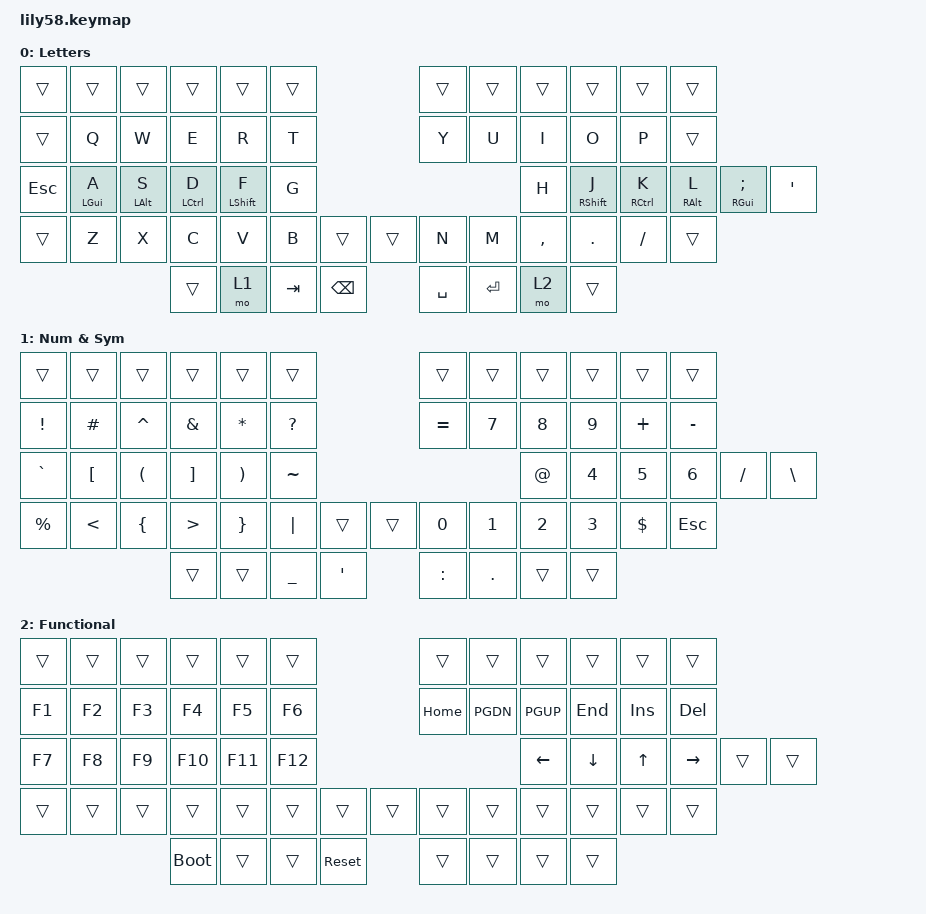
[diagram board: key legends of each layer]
/*
 * Copyright (c) 2020 The ZMK Contributors
 *
 * SPDX-License-Identifier: MIT
 *
 * Lily58 keymap constrained to a 6-column Corne footprint.
 * Rows 1–3 + inner 3 thumbs per half are active; row 0 + outer thumbs are &trans.
 * Mac-oriented: GUI = CMD, ALT = Opt.
 */

#include <dt-bindings/zmk/behaviors.h>
#include <behaviors.dtsi>
#include <dt-bindings/zmk/keys.h>
#include <dt-bindings/zmk/outputs.h>
#include <dt-bindings/zmk/bt.h>

/ {
    behaviors {
        // Home-row mods — any key press on either side activates the hold.
        hml: homerow_mod_left {
            compatible = "zmk,behavior-hold-tap";
            #binding-cells = <2>;
            flavor = "balanced";
            tapping-term-ms = <200>;
            require-prior-idle-ms = <150>;
            bindings = <&kp>, <&kp>;
            display-name = "HRM Left";
        };

        hmr: homerow_mod_right {
            compatible = "zmk,behavior-hold-tap";
            #binding-cells = <2>;
            flavor = "balanced";
            tapping-term-ms = <200>;
            require-prior-idle-ms = <150>;
            bindings = <&kp>, <&kp>;
            display-name = "HRM Right";
        };
    };

    keymap {
        compatible = "zmk,keymap";

        // ==================================================================
        //  Layer 0 — Letters  (QWERTY + home-row mods)
        // ==================================================================
        //
        //  Row 0 — all &trans (outside Corne footprint)
        //
        //  ┌───────┬───────┬───────┬───────┬───────┬───────┐ ┌───────┬───────┬───────┬───────┬───────┬───────┐
        //  │ TRNS  │ TRNS  │ TRNS  │ TRNS  │ TRNS  │ TRNS  │ │ TRNS  │ TRNS  │ TRNS  │ TRNS  │ TRNS  │ TRNS  │
        //  ├───────┼───────┼───────┼───────┼───────┼───────┤ ├───────┼───────┼───────┼───────┼───────┼───────┤
        //  │ TRNS  │   Q   │   W   │   E   │   R   │   T   │ │   Y   │   U   │   I   │   O   │   P   │ TRNS  │
        //  ├───────┼───────┼───────┼───────┼───────┼───────┤ ├───────┼───────┼───────┼───────┼───────┼───────┤
        //  │  ESC  │ A/CMD │ S/Opt │D/Ctrl │F/Shft │   G   │ │   H   │J/Shft │K/Ctrl │ L/Opt │;/CMD  │   '   │
        //  ├───────┼───────┼───────┼───────┼───────┼───────┤ ├───────┼───────┼───────┼───────┼───────┼───────┤
        //  │ TRNS  │   Z   │   X   │   C   │   V   │   B   │ │   N   │   M   │   ,   │   .   │   /   │ TRNS  │
        //  └───────┴───────┴───────┴───────┴───────┴───────┘ └───────┴───────┴───────┴───────┴───────┴───────┘
        //            ┌───────┬───────┬───────┬───────┐         ┌───────┬───────┬───────┬───────┐
        //            │ TRNS  │  LWR  │  TAB  │ BSPC  │         │  SPC  │  ENT  │  RSE  │ TRNS  │
        //            └───────┴───────┴───────┴───────┘         └───────┴───────┴───────┴───────┘

        default_layer {
            display-name = "Letters";
            bindings = <
&trans      &trans  &trans  &trans  &trans  &trans                      &trans  &trans  &trans  &trans  &trans  &trans
&trans      &kp Q   &kp W   &kp E   &kp R   &kp T                       &kp Y   &kp U   &kp I   &kp O   &kp P   &trans
&kp ESC     &hml LGUI A &hml LALT S &hml LCTRL D &hml LSHFT F &kp G      &kp H   &hmr RSHFT J &hmr RCTRL K &hmr RALT L &hmr RGUI SEMI &kp SQT
&trans      &kp Z   &kp X   &kp C   &kp V   &kp B   &trans  &trans      &kp N   &kp M   &kp COMMA &kp DOT &kp FSLH &trans
                            &trans  &mo 1   &kp TAB &kp BSPC             &kp SPACE &kp RET &mo 2   &trans
            >;
        };

        // ==================================================================
        //  Layer 1 — Numerals & Symbols
        // ==================================================================
        //
        //  Row 0 — all &trans
        //
        //  ┌───────┬───────┬───────┬───────┬───────┬───────┐ ┌───────┬───────┬───────┬───────┬───────┬───────┐
        //  │ TRNS  │ TRNS  │ TRNS  │ TRNS  │ TRNS  │ TRNS  │ │ TRNS  │ TRNS  │ TRNS  │ TRNS  │ TRNS  │ TRNS  │
        //  ├───────┼───────┼───────┼───────┼───────┼───────┤ ├───────┼───────┼───────┼───────┼───────┼───────┤
        //  │   !   │   #   │   ^   │   &   │   *   │   ?   │ │   =   │   7   │   8   │   9   │   +   │   -   │
        //  ├───────┼───────┼───────┼───────┼───────┼───────┤ ├───────┼───────┼───────┼───────┼───────┼───────┤
        //  │   `   │   [   │   (   │   ]   │   )   │   ~   │ │   @   │   4   │   5   │   6   │   /   │   \   │
        //  ├───────┼───────┼───────┼───────┼───────┼───────┤ ├───────┼───────┼───────┼───────┼───────┼───────┤
        //  │   %   │   <   │   {   │   >   │   }   │   |   │ │   0   │   1   │   2   │   3   │   $   │ ESC  │
        //  └───────┴───────┴───────┴───────┴───────┴───────┘ └───────┴───────┴───────┴───────┴───────┴───────┘
        //            ┌───────┬───────┬───────┬───────┐         ┌───────┬───────┬───────┬───────┐
        //            │ TRNS  │ TRNS  │   _   │   '   │         │   :   │   .   │ TRNS  │ TRNS  │
        //            └───────┴───────┴───────┴───────┘         └───────┴───────┴───────┴───────┘

        num_sym_layer {
            display-name = "Num & Sym";
            bindings = <
&trans      &trans  &trans  &trans  &trans  &trans                      &trans  &trans  &trans  &trans  &trans  &trans
&kp EXCL   &kp HASH &kp CARET &kp AMPS &kp ASTRK &kp QMARK               &kp EQUAL &kp N7 &kp N8 &kp N9 &kp PLUS  &kp MINUS
&kp GRAVE  &kp LBKT &kp LPAR &kp RBKT &kp RPAR  &kp TILDE                &kp AT    &kp N4 &kp N5 &kp N6 &kp FSLH &kp BSLH
&kp PERCENT &kp LT &kp LBRC &kp GT   &kp RBRC  &kp PIPE &trans &trans    &kp N0    &kp N1 &kp N2 &kp N3 &kp DOLLAR &kp ESC
                            &trans  &trans  &kp UNDER &kp SQT              &kp COLON &kp DOT &trans &trans
            >;
        };

        // ==================================================================
        //  Layer 2 — Functional
        // ==================================================================
        //
        //  Row 0 — all &trans
        //
        //  ┌───────┬───────┬───────┬───────┬───────┬───────┐ ┌───────┬───────┬───────┬───────┬───────┬───────┐
        //  │ TRNS  │ TRNS  │ TRNS  │ TRNS  │ TRNS  │ TRNS  │ │ TRNS  │ TRNS  │ TRNS  │ TRNS  │ TRNS  │ TRNS  │
        //  ├───────┼───────┼───────┼───────┼───────┼───────┤ ├───────┼───────┼───────┼───────┼───────┼───────┤
        //  │  F1   │  F2   │  F3   │  F4   │  F5   │  F6   │ │ HOME  │ PGDN  │ PGUP  │  END  │  INS  │  DEL  │
        //  ├───────┼───────┼───────┼───────┼───────┼───────┤ ├───────┼───────┼───────┼───────┼───────┼───────┤
        //  │  F7   │  F8   │  F9   │  F10  │  F11  │  F12  │ │ LEFT  │ DOWN  │  UP   │ RIGHT │ TRNS  │ TRNS  │
        //  ├───────┼───────┼───────┼───────┼───────┼───────┤ ├───────┼───────┼───────┼───────┼───────┼───────┤
        //  │ TRNS  │ TRNS  │ TRNS  │ TRNS  │ TRNS  │ TRNS  │ │ TRNS  │ TRNS  │ TRNS  │ TRNS  │ TRNS  │ TRNS  │
        //  └───────┴───────┴───────┴───────┴───────┴───────┘ └───────┴───────┴───────┴───────┴───────┴───────┘
        //            ┌───────┬───────┬───────┬───────┐         ┌───────┬───────┬───────┬───────┐
        //            │ BOOT  │ TRNS  │ TRNS  │  RST  │         │ TRNS  │ TRNS  │ TRNS  │ TRNS  │
        //            └───────┴───────┴───────┴───────┘         └───────┴───────┴───────┴───────┘

        func_layer {
            display-name = "Functional";
            bindings = <
&trans      &trans  &trans  &trans  &trans  &trans                      &trans  &trans  &trans  &trans  &trans  &trans
&kp F1      &kp F2  &kp F3  &kp F4  &kp F5  &kp F6                     &kp HOME &kp PGDN &kp PGUP &kp END &kp INS &kp DEL
&kp F7      &kp F8  &kp F9  &kp F10 &kp F11 &kp F12                    &kp LEFT &kp DOWN &kp UP  &kp RIGHT &trans &trans
&trans      &trans  &trans  &trans  &trans  &trans  &trans  &trans      &trans   &trans   &trans &trans   &trans  &trans
                            &bootloader &trans &trans &sys_reset         &trans   &trans   &trans &trans
            >;
        };
    };
};
